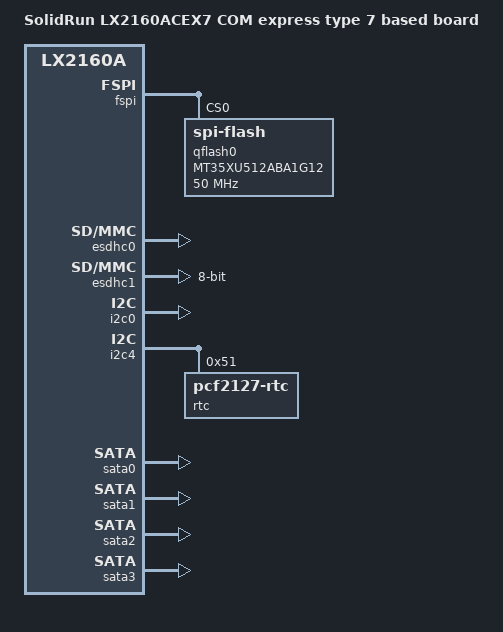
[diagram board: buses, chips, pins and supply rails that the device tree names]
// SPDX-License-Identifier: GPL-2.0+ OR X11
/*
 * SolidRun LX2160ACEX7 device tree source
 *
 * Author:	Rabeeh Khoury <rabeeh@solid-run.com>
 *
 * Copyright 2019 SolidRun ltd.
 *
 */

/dts-v1/;

#include "fsl-lx2160a.dtsi"

/ {
	model = "SolidRun LX2160ACEX7 COM express type 7 based board";
	compatible = "fsl,lx2160acex7", "fsl,lx2160a";

	aliases {
		spi0 = &fspi;
	};
};

&fspi {
	bus-num = <0>;
	status = "okay";

	qflash0: MT35XU512ABA1G12@0 {
		#address-cells = <1>;
		#size-cells = <1>;
		compatible = "spi-flash";
		spi-max-frequency = <50000000>;
		reg = <0>;
		/* The following setting enables 1-1-8 (CMD-ADDR-DATA) mode */
		fspi-rx-bus-width = <8>; /* 8 FSPI Rx lines */
		fspi-tx-bus-width = <1>; /* 1 FSPI Tx line */
	};

};

&esdhc0 {
	status = "okay";
};

&esdhc1 {
	status = "okay";
	bus-width = <8>;
	u-boot,mmc-env-partition;
};

&i2c0 {
	status = "okay";
	u-boot,dm-pre-reloc;
};

&i2c4 {
	status = "okay";

	rtc@51 {
		compatible = "pcf2127-rtc";
		reg = <0x51>;
	};
};

&sata0 {
	status = "okay";
};

&sata1 {
	status = "okay";
};

&sata2 {
	status = "okay";
};

&sata3 {
	status = "okay";
};
